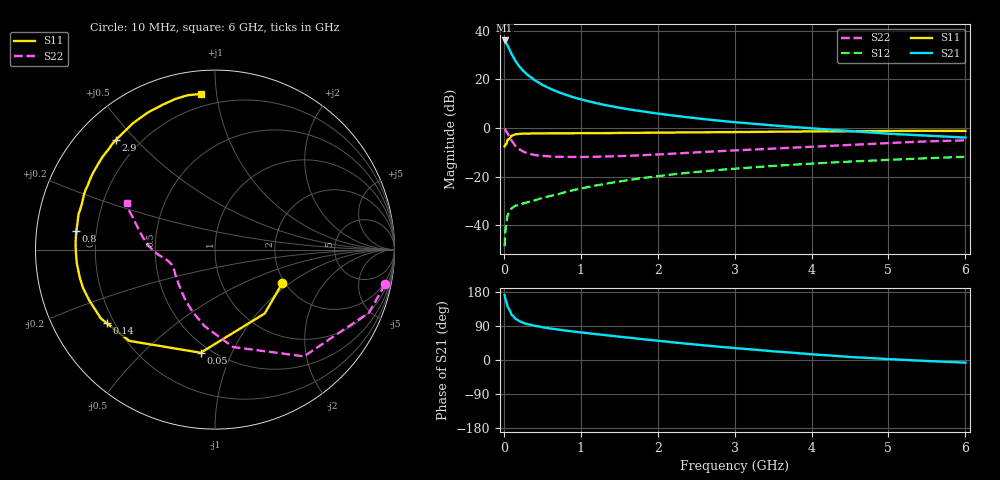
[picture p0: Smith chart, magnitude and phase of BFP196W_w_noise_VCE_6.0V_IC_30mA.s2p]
! Infineon Technologies  Discrete & RF Semiconductors
! BFP196W
! VCE =  6.0 V,  IC =  30 mA
! Common Emitter S-Parameters:  Jan 2017
# GHz  S  MA  R  50
!  f  S11  S21  S12  S22
! GHz  MAG  ANG  MAG  ANG  MAG  ANG  MAG  ANG
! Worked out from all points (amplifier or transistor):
!   77 points, 10 MHz to 6 GHz, reference 50 ohm
!   highest |S21| = 36.0 dB at 10 MHz (marker M1)
!   |S21| within 3 dB of that: start of sweep to 62.89 MHz
!   unconditionally stable (mu >= 1): 858.5 MHz to 3.266 GHz
!   at 130 MHz: K = 0.31, MSG = 30.6 dB, |S12| = -32.4 dB
!   at 2.2 GHz: K = 1.04, MAG = 10.8 dB, |S12| = -19.1 dB
!   at 6 GHz: K = 0.92, MSG = 3.9 dB, |S12| = -11.8 dB
!   lowest NFmin = 1.13 dB at 450 MHz
!   S11 on the Smith chart (normalised r, x): 10 MHz: 1.94, -0.88; 50 MHz: 0.44, -0.77; 140 MHz: 0.17, -0.30; 800 MHz: 0.12, +0.07; 2.9 GHz: 0.12, +0.44; 6 GHz: 0.13, +0.91
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0.01  0.4193 -26.4  63.3 171.2  0.0037 81.6  0.9671 -11.5
0.02  0.4511 -52.1  61 161.5  0.0075 72.6  0.9272 -22.3
0.05  0.5801 -97.9  49.42 139.8  0.0163 56.3  0.7744 -50.2
0.1  0.6976 -133.2  33.28 119.5  0.0221 43.1  0.552 -79.5
0.14  0.7293 -145.9  25.86 111.8  0.0246 38.4  0.4499 -93.5
0.15  0.7425 -148.9  24.1 109.2  0.0252 37.4  0.4298 -97.9
0.2  0.7552 -157.8  18.62 102.8  0.026 38.1  0.3677 -110.0
0.25  0.7659 -163.9  15.12 98.3  0.028 37.7  0.3286 -119.5
0.3  0.7692 -168.1  12.69 95.1  0.0294 39.7  0.3047 -126.5
0.4  0.7737 -174.2  9.636 90.2  0.0323 42.9  0.2789 -136.7
0.5  0.7749 -178.4  7.725 86.5  0.0364 46.4  0.2659 -143.3
0.6  0.7776 178.0  6.467 83.3  0.0398 48.6  0.2606 -148.3
0.7  0.778 175.1  5.541 80.6  0.0432 51.8  0.2555 -151.8
0.8  0.7797 172.4  4.856 77.7  0.048 54.0  0.2545 -154.3
1.1  0.7856 165.4  3.548 70.6  0.0612 56.0  0.255 -159.8
1.5  0.7917 157.3  2.614 61.6  0.0791 57.5  0.2643 -164.8
2.1  0.8047 145.6  1.892 48.8  0.1066 55.3  0.2909 -170.9
2.9  0.8229 132.2  1.365 33.3  0.1413 50.3  0.3398 -178.4
3.1  0.8266 129.1  1.278 29.9  0.1493 48.8  0.3519 179.6
4.1  0.8515 114.7  0.959 13.7  0.1886 41.4  0.4177 168.6
5.1  0.8686 103.8  0.749 1.4  0.2244 33.7  0.4976 158.0
6  0.8707 95.2  0.635 -7.0  0.2559 26.8  0.5565 152.1
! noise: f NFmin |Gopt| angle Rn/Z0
0.45  1.13  0.45  178  0.05
0.9  1.29  0.52  -176  0.06
1.9  2.14  0.68  -151  0.13
2.4  2.54  0.73  -146  0.22
